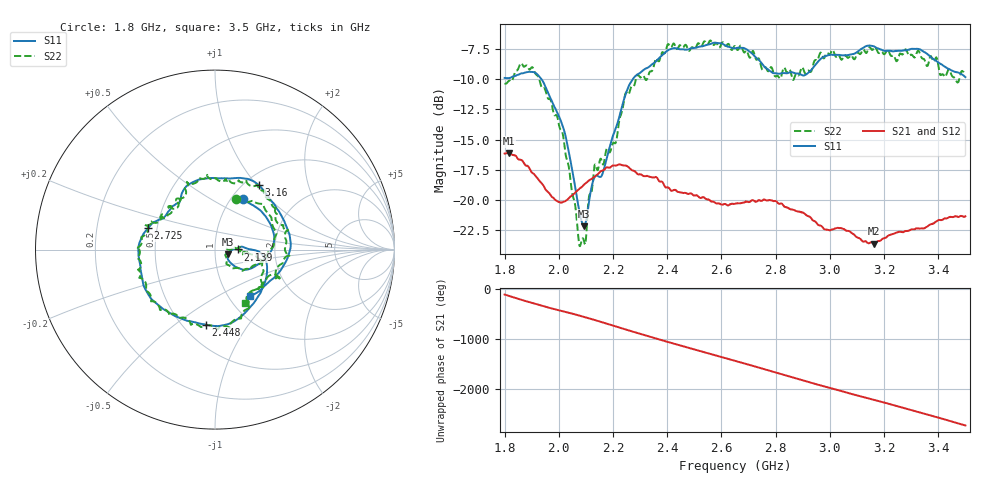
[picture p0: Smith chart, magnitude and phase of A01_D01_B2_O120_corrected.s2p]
! Created with skrf 1.9.0 (http://scikit-rf.org).
# Hz S RI R 50.0
!freq ReS11 ImS11 ReS21 ImS21 ReS12 ImS12 ReS22 ImS22
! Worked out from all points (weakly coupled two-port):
!   1601 points, 1.8 GHz to 3.5 GHz, reference 50 ohm
!   highest |S21| = -16.12 dB at 1.817 GHz (marker M1); lowest = -23.6 dB at 3.163 GHz (marker M2)
!   lowest |S11| = -22.2 dB at 2.092 GHz (marker M3), VSWR 1.17, Z = 57.8 - j3.1 ohm
!   |S11| at or under -10 dB: 1.936 GHz to 2.273 GHz (336.3 MHz wide, 16 % of centre)
!   |S22| runs from -23.8 to -6.8 dB; largest |S21 - S12| = 0.0031
!   S11 on the Smith chart (normalised r, x): 1.8 GHz: 1.13, +0.71; 2.139 GHz: 1.29, +0.00; 2.448 GHz: 0.64, -0.65; 2.725 GHz: 0.45, +0.13; 3.16 GHz: 1.17, +1.03; 3.5 GHz: 1.26, -0.72
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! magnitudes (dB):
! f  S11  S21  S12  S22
! 1.8 GHz  -9.9  -16.2  -16.2  -10.3
! 1.817 GHz  -9.9  -16.1  -16.1  -10.1
! 1.902 GHz  -9.4  -17.7  -17.7  -9.0
! 1.968 GHz  -11.5  -19.6  -19.6  -11.7
! 2.022 GHz  -14.4  -20.1  -20.1  -15.8
! 2.084 GHz  -21.7  -19.0  -18.9  -23.4
! 2.092 GHz  -22.2  -18.8  -18.8  -23.4
! 2.139 GHz  -18.0  -18.0  -18.0  -17.3
! 2.208 GHz  -14.2  -17.2  -17.1  -15.3
! 2.262 GHz  -10.4  -17.4  -17.4  -11.0
! 2.367 GHz  -8.3  -18.3  -18.3  -8.5
! 2.448 GHz  -7.5  -19.4  -19.4  -7.2
! 2.65 GHz  -7.4  -20.3  -20.3  -7.2
! 2.725 GHz  -8.1  -20.2  -20.1  -8.2
! 2.81 GHz  -9.5  -20.3  -20.2  -9.8
! 2.934 GHz  -9.2  -21.6  -21.6  -9.2
! 3.16 GHz  -7.2  -23.6  -23.6  -7.5
! 3.163 GHz  -7.3  -23.6  -23.6  -7.4
! 3.217 GHz  -7.6  -22.9  -22.9  -7.7
! 3.331 GHz  -7.5  -22.4  -22.4  -7.8
! 3.468 GHz  -9.4  -21.4  -21.4  -10.2
! 3.5 GHz  -9.8  -21.4  -21.4  -9.3
